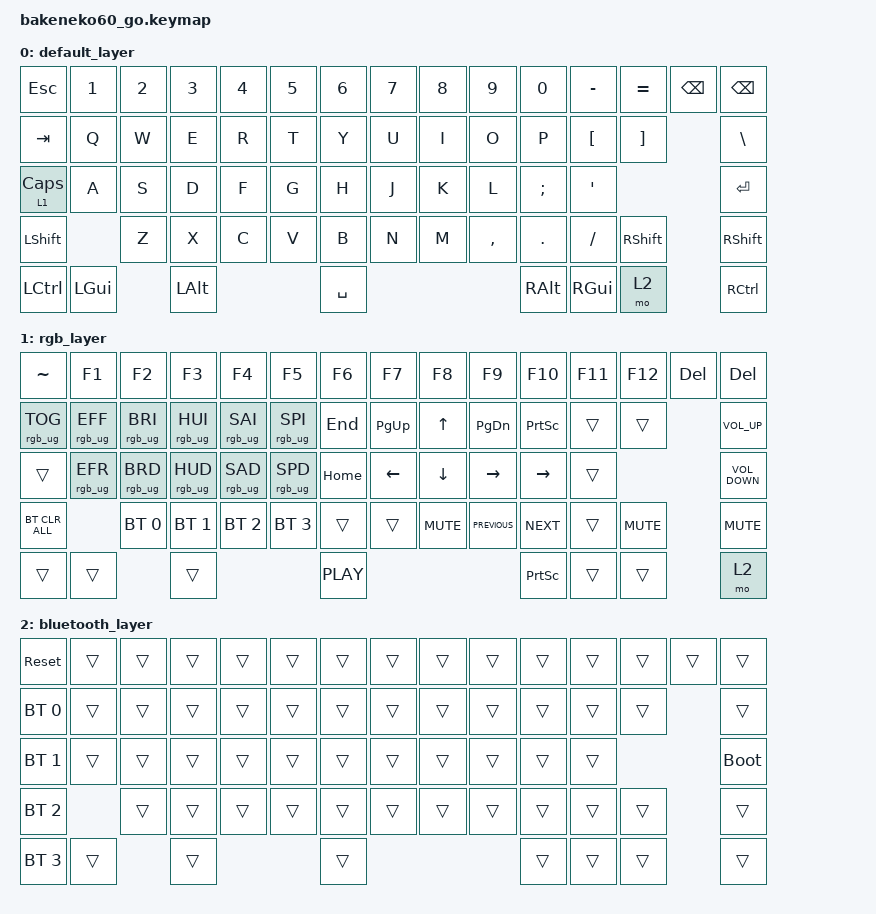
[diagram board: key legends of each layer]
/*
 * Copyright (c) 2023 Andrew Kannan
 *
 * SPDX-License-Identifier: MIT
 */

#include <behaviors.dtsi>
#include <dt-bindings/zmk/bt.h>
#include <dt-bindings/zmk/keys.h>
#include <dt-bindings/zmk/rgb.h>

/ {
    keymap {
        compatible = "zmk,keymap";

        default_layer {
            // ------------------------------------------------------------------------------------------
            // | ESC |  1  |  2  |  3  |  4  |  5  |  6  |  7  |  8  |  9  |  0  |  -  |  =  | BKSP|BKSP|
            // | TAB  |  Q  |  W  |  E  |  R  |  T  |  Y  |  U  |  I  |  O  |  P  |  [  |  ]  |   "|"   |
            // | CAPS  |  A  |  S  |  D  |  F  |  G  |  H  |  J  |  K  |  L  |  ;  |  '  |     ENTER    |
            // |  SHIFT  |  Z  |  X  |  C  |  V  |  B  |  N  |  M  |  ,  |  .  |  /  |  SHIFT  | MO(1)  |
            // |  CTL  |  WIN  |  ALT  |            SPACE              |  ALT  |  WIN  |  MO(1) |  CTL  |
            // ------------------------------------------------------------------------------------------

            bindings = <
&kp ESCAPE  &kp N1    &kp N2  &kp N3    &kp N4  &kp N5  &kp N6     &kp N7  &kp N8  &kp N9     &kp N0    &kp MINUS  &kp EQUAL  &kp BSPC  &kp BSPC
&kp TAB     &kp Q     &kp W   &kp E     &kp R   &kp T   &kp Y      &kp U   &kp I   &kp O      &kp P     &kp LBKT   &kp RBKT             &kp BSLH
&lt 1 CAPS  &kp A     &kp S   &kp D     &kp F   &kp G   &kp H      &kp J   &kp K   &kp L      &kp SEMI  &kp SQT                         &kp RET
&kp LSHFT             &kp Z   &kp X     &kp C   &kp V   &kp B      &kp N   &kp M   &kp COMMA  &kp DOT   &kp FSLH   &kp RSHFT            &kp RIGHT_SHIFT
&kp LCTRL   &kp LGUI          &kp LALT                  &kp SPACE                             &kp RALT  &kp RGUI   &mo 2                &kp RCTRL
            >;
        };

        rgb_layer {
            // ------------------------------------------------------------------------------------------------
            // |    `   | F1  | F2  | F3  | F4  | F5  | F6  | F7  | F8  | F9  | F10  | F11 | F12 |     | DEL  |
            // | EFCT REV|   |  UP |   | HUEUP | SATUP | BRIUP | SPDUP |      |  PGUP |    |     |    |       |
            // | EFCT FWD | LT |  DN  | RT | HUEDN | SATDN | BRIDN | SPDDN | HOME | PGDN | END  |  | BOOTLDR  |
            // |             |     |      |      |     |     |     |     |     |     |     |         |        |
            // |         |      |      |             TOG RGB                | PRT SCR |       |       |  MO(2)|
            // ------------------------------------------------------------------------------------------------

            bindings = <
&kp TILDE        &kp F1           &kp F2           &kp F3           &kp F4           &kp F5           &kp F6      &kp F7     &kp F8      &kp F9          &kp F10          &kp F11  &kp F12     &kp DEL  &kp DEL
&rgb_ug RGB_TOG  &rgb_ug RGB_EFF  &rgb_ug RGB_BRI  &rgb_ug RGB_HUI  &rgb_ug RGB_SAI  &rgb_ug RGB_SPI  &kp END     &kp PG_UP  &kp UP      &kp PG_DN       &kp PRINTSCREEN  &trans   &trans               &kp C_VOLUME_UP
&trans           &rgb_ug RGB_EFR  &rgb_ug RGB_BRD  &rgb_ug RGB_HUD  &rgb_ug RGB_SAD  &rgb_ug RGB_SPD  &kp HOME    &kp LEFT   &kp DOWN    &kp RIGHT       &kp RIGHT        &trans                        &kp C_VOLUME_DOWN
&bt BT_CLR_ALL                    &bt BT_SEL 0     &bt BT_SEL 1     &bt BT_SEL 2     &bt BT_SEL 3     &trans      &trans     &kp C_MUTE  &kp C_PREVIOUS  &kp C_NEXT       &trans   &kp C_MUTE           &kp C_MUTE
&trans           &trans                            &trans                                             &kp C_PLAY                                         &kp PSCRN        &trans   &trans               &mo 2
            >;
        };

        bluetooth_layer {
            // ------------------------------------------------------------------------------------------------
            // | BT CLR |     |     |     |     |     |     |     |     |     |     |    |    |       |       |
            // |  BT 1   |   |     |   |       |       |       |       |   |     |    |     |     |           |
            // |   BT 2   |    |      |    |       |       |       |       |      |      |      |  |   Reset  |
            // |    BT 3     |     |      |      |     |     |     |     |     |     |     |         |        |
            // |   BT 4  |      |      |                                    |         |       |       |       |
            // ------------------------------------------------------------------------------------------------

            bindings = <
&sys_reset    &trans  &trans  &trans  &trans  &trans  &trans  &trans  &trans  &trans  &trans  &trans  &trans  &trans  &trans
&bt BT_SEL 0  &trans  &trans  &trans  &trans  &trans  &trans  &trans  &trans  &trans  &trans  &trans  &trans          &trans
&bt BT_SEL 1  &trans  &trans  &trans  &trans  &trans  &trans  &trans  &trans  &trans  &trans  &trans                  &bootloader
&bt BT_SEL 2          &trans  &trans  &trans  &trans  &trans  &trans  &trans  &trans  &trans  &trans  &trans          &trans
&bt BT_SEL 3  &trans          &trans                  &trans                          &trans  &trans  &trans          &trans
            >;
        };
    };

    combos {
        compatible = "zmk,combos";

        combo_bt {
            timeout-ms = <50>;
            key-positions = <61 62>;
            bindings = <&mo 2>;
        };
    };
};
